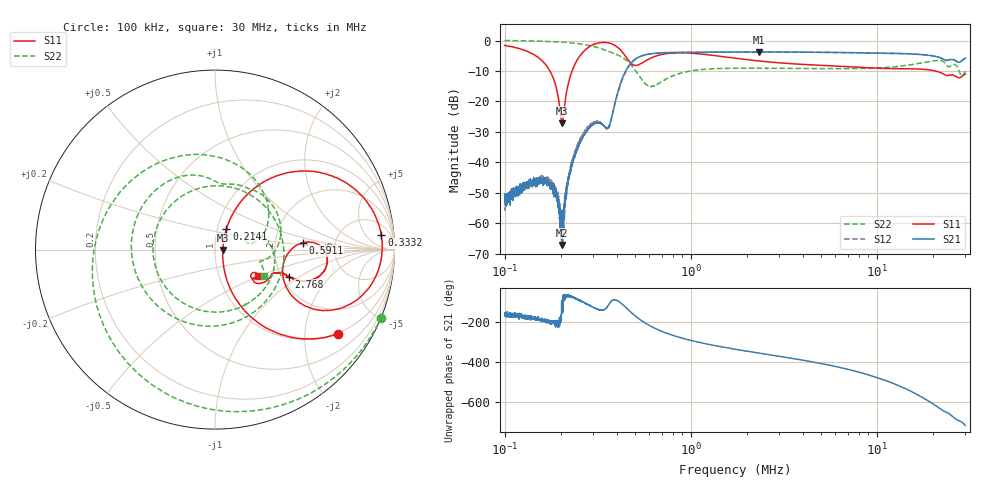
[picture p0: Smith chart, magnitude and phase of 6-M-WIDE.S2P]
!Keysight Technologies,E5063A,MY54504603,A.05.08
!Date: Wed Nov 25 12:57:33 2026
!Data & Calibration Information:
!Freq	S11:NONE(--)	S21:NONE(--)	S12:NONE(--)	S22:NONE(--)
# Hz S dB R 50
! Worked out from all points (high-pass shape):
!   5001 points, 100 kHz to 30 MHz, reference 50 ohm
!   highest |S21| = -3.76 dB at 2.341 MHz (marker M1); lowest = -67.1 dB at 202.5 kHz (marker M2)
!   |S21| within 3 dB of the highest: 488.8 kHz to 26.74 MHz (26.25 MHz wide, 193 % of centre); 28.5 MHz to end of sweep
!   lowest |S11| = -27.2 dB at 203.7 kHz (marker M3), VSWR 1.09, Z = 54.5 - j0.261 ohm
!   |S11| at or under -10 dB: 175.2 kHz to 230.5 kHz (55.27 kHz wide, 27.2 % of centre); 20.69 MHz to end of sweep
!   |S22| runs from -15.1 to 0.0 dB; largest |S21 - S12| = 0.014
!   S11 on the Smith chart (normalised r, x): 100 kHz: 0.97, -2.94; 214.1 kHz: 1.11, +0.25; 333.2 kHz: 11, +14; 591.1 kHz: 2.89, +0.29; 2.768 MHz: 2.19, -0.82; 30 MHz: 1.54, -0.49
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100000  -1.61 -34.4  -50.82 -158.7  -54.08 -160.1  0.02 -22.3
163662  -7.41 -61.9  -46.20 164.8  -45.93 171.3  -0.25 -49.3
202467.8  -26.82 -20.4  -67.06 -129.6  -60.23 132.5  -0.52 -67.1
203731.9  -27.22 -3.1  -66.70 -140.8  -61.29 -119.4  -0.52 -67.8
214097.5  -17.72 60.7  -51.10 -72.8  -49.69 -68.8  -0.62 -72.9
258982.6  -4.37 45.6  -32.47 -99.2  -31.52 -100.5  -1.18 -98.2
333236.1  -0.63 5.0  -27.41 -142.7  -27.35 -148.3  -2.77 -155.5
364683  -0.83 -9.2  -28.00 -112.2  -28.37 -114.9  -3.63 172.1
419000  -3.07 -28.8  -14.19 -105.4  -14.62 -107.4  -5.19 106.9
477605.2  -7.40 -25.0  -7.40 -153.2  -7.58 -153.5  -7.99 44.1
591065.6  -6.19 4.4  -4.49 144.2  -4.51 143.2  -14.86 13.3
669687.6  -4.86 3.0  -4.11 119.3  -4.16 118.3  -14.21 23.5
1732051  -5.80 -19.9  -3.79 22.7  -3.79 22.7  -9.10 -33.3
2340853  -6.72 -20.5  -3.76 3.2  -3.77 3.2  -9.11 -53.9
2767701  -7.17 -20.1  -3.77 -7.3  -3.77 -7.4  -9.12 -66.8
4484814  -8.00 -19.3  -3.82 -39.8  -3.84 -39.8  -9.20 -115.1
7612582  -8.71 -20.8  -4.00 -85.9  -4.05 -85.7  -9.21 161.5
1.159933e7  -9.19 -22.7  -4.20 -138.6  -4.22 -138.3  -8.79 56.7
1.699641e7  -9.38 -29.2  -4.54 151.2  -4.56 151.3  -7.47 -85.3
2.073591e7  -10.02 -36.5  -5.21 102.4  -5.23 102.7  -6.62 177.0
2.351522e7  -11.41 -38.2  -6.51 70.4  -6.52 70.7  -7.71 98.6
3e7  -10.99 -31.0  -5.78 3.3  -5.78 3.5  -10.01 -29.2
